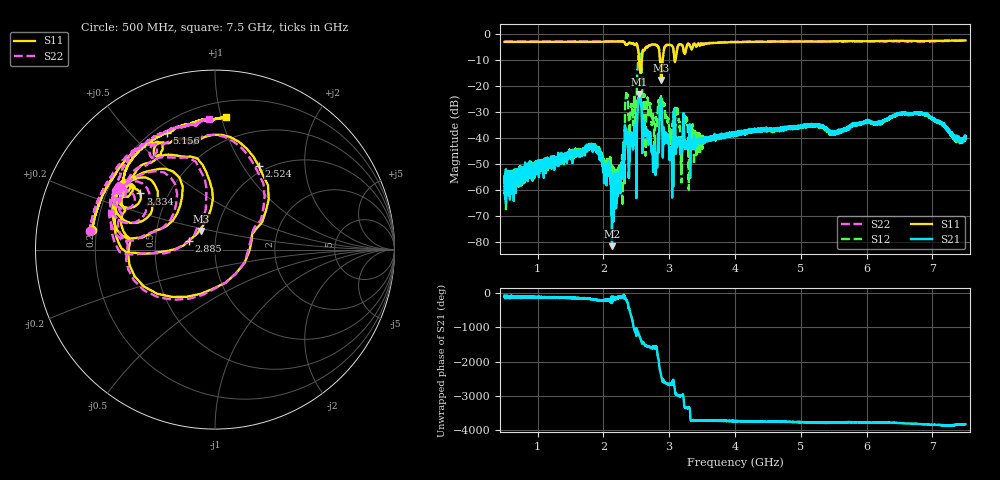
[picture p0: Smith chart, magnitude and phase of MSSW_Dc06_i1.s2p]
!Keysight Technologies,M9374A,MY55442783,A.12.55.05
!Date: Thursday, May 20, 2021 12:52:15
!Correction: S11(Full 2 Port(1,2))
!S21(Full 2 Port(1,2))
!S12(Full 2 Port(1,2))
!S22(Full 2 Port(1,2))
!S2P File: Measurements: S11, S21, S12, S22:
# Hz S  RI  R 50
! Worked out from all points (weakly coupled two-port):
!   7001 points, 500 MHz to 7.5 GHz, reference 50 ohm
!   highest |S21| = -23.21 dB at 2.546 GHz (marker M1); lowest = -81.6 dB at 2.131 GHz (marker M2)
!   lowest |S11| = -17.8 dB at 2.878 GHz (marker M3), VSWR 1.30, Z = 41.9 + j8.82 ohm
!   |S11| at or under -10 dB: 2.543 GHz to 2.585 GHz (41.31 MHz wide, 1.61 % of centre); 2.861 GHz to 2.901 GHz (39.93 MHz wide, 1.39 % of centre); 3.079284 GHz to 3.094645 GHz (15.36 MHz wide, 0.498 % of centre)
!   |S22| runs from -16.9 to -2.7 dB; largest |S21 - S12| = 0.35
!   S11 on the Smith chart (normalised r, x): 500 MHz: 0.18, +0.08; 2.524 GHz: 0.92, +1.18; 2.885 GHz: 0.74, +0.07; 3.334 GHz: 0.35, +0.30; 5.156 GHz: 0.25, +0.64; 7.5 GHz: 0.32, +1.04
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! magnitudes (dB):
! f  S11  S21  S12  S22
! 500 MHz  -3.2  -54.6  -55.7  -3.0
! 1.667 GHz  -3.1  -46.2  -45.4  -3.0
! 2.131 GHz  -3.0  -81.6  -56.9  -2.9
! 2.29 GHz  -3.2  -50.7  -66.1  -3.1
! 2.36 GHz  -4.3  -39.7  -23.8  -4.2
! 2.471 GHz  -4.3  -36.3  -24.9  -4.2
! 2.524 GHz  -5.6  -27.6  -11.1  -5.7
! 2.546 GHz  -11.1  -23.2  -7.9  -11.2
! 2.627 GHz  -6.3  -34.6  -24.2  -6.1
! 2.786 GHz  -4.3  -48.2  -37.1  -4.2
! 2.834 GHz  -5.2  -38.7  -26.0  -5.1
! 2.878 GHz  -17.8  -26.4  -24.1  -16.4
! 2.885 GHz  -16.4  -28.8  -25.0  -15.6
! 3.028 GHz  -4.4  -45.8  -42.3  -4.3
! 3.101 GHz  -9.1  -46.1  -29.8  -8.6
! 3.18 GHz  -4.1  -43.1  -46.8  -3.9
! 3.334 GHz  -5.7  -42.5  -37.0  -5.2
! 4 GHz  -3.3  -38.6  -38.0  -3.2
! 5.156 GHz  -3.0  -35.0  -35.3  -2.9
! 5.167 GHz  -3.1  -35.4  -35.3  -2.9
! 6.334 GHz  -2.8  -32.5  -32.7  -3.0
! 7.5 GHz  -2.6  -39.4  -41.1  -2.8
